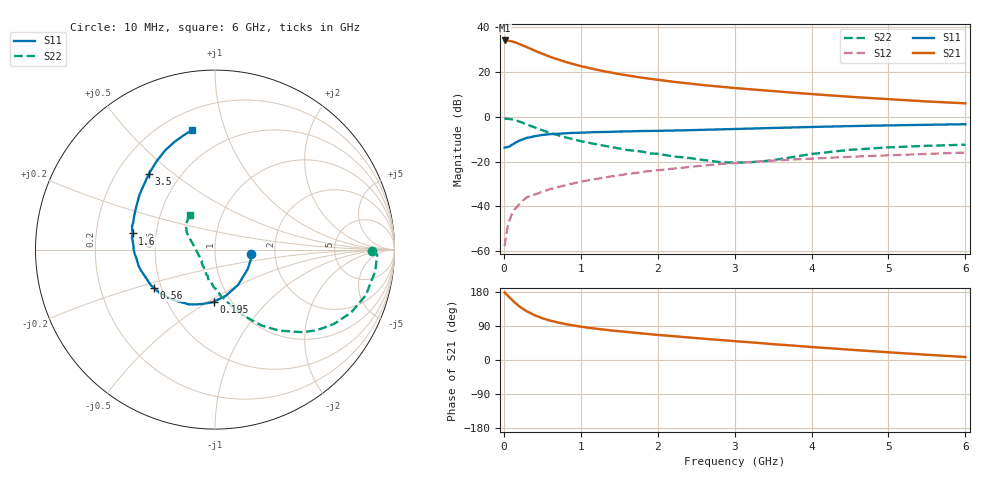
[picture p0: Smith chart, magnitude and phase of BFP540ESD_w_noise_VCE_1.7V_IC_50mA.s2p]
! Infineon Technologies  Discrete & RF Semiconductors
! BFP540ESD
! VCE =  1.7 V,  IC =  50 mA
! Common Emitter S-Parameters:  Nov 2015
# GHz  S  MA  R  50
!  f  S11  S21  S12  S22
! GHz  MAG  ANG  MAG  ANG  MAG  ANG  MAG  ANG
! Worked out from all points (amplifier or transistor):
!   210 points, 10 MHz to 6 GHz, reference 50 ohm
!   highest |S21| = 34.0 dB at 10 MHz (marker M1)
!   |S21| within 3 dB of that: start of sweep to 299.1 MHz
!   unconditionally stable (mu >= 1): start of sweep to 19.9 MHz; 1.338 GHz to end of sweep
!   at 185 MHz: K = 0.39, MSG = 36.1 dB, |S12| = -39.6 dB
!   at 1.52 GHz: K = 1.03, MAG = 21.3 dB, |S12| = -26.0 dB
!   at 6 GHz: K = 1.12, MAG = 8.9 dB, |S12| = -16.0 dB
!   lowest NFmin = 1.82 dB at 900 MHz
!   S11 on the Smith chart (normalised r, x): 10 MHz: 1.51, -0.08; 195 MHz: 0.84, -0.53; 560 MHz: 0.46, -0.23; 1.6 GHz: 0.37, +0.08; 3.5 GHz: 0.33, +0.41; 6 GHz: 0.31, +0.78
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0.01  0.2044 -7.5  50 178.1  0.0013 127.0  0.873 -0.5
0.05  0.2122 -30.9  49.75 169.9  0.0036 85.3  0.9012 -7.5
0.1  0.2355 -57.0  48 159.6  0.0064 75.1  0.878 -16.8
0.15  0.2644 -76.9  45.3 150.2  0.009 76.3  0.8357 -24.8
0.195  0.2894 -91.0  42.3 142.7  0.0109 74.2  0.7862 -31.2
0.24  0.3103 -102.8  39.23 136.1  0.0131 71.3  0.7368 -36.8
0.3  0.3381 -115.5  35.35 128.2  0.016 67.9  0.6721 -43.2
0.4  0.3676 -130.7  29.62 118.0  0.0184 65.7  0.5762 -51.6
0.5  0.3922 -142.3  25.21 110.1  0.0211 66.1  0.498 -58.3
0.56  0.4009 -147.5  23.03 106.7  0.023 65.5  0.4604 -61.1
0.6  0.4085 -150.9  21.62 104.0  0.0242 65.1  0.4361 -63.2
0.7  0.4156 -157.7  18.91 99.1  0.0269 63.2  0.3874 -67.5
0.8  0.4279 -163.7  16.66 94.7  0.0296 63.4  0.3463 -71.9
1.02  0.4405 -173.6  13.15 87.5  0.0362 63.7  0.2808 -79.2
1.3  0.4548 177.3  10.32 80.2  0.0441 62.0  0.2243 -87.3
1.6  0.4667 168.9  8.342 73.7  0.0528 61.3  0.1813 -96.4
2.02  0.4853 159.1  6.555 65.9  0.0645 58.1  0.1468 -109.2
3.1  0.5353 137.9  4.218 48.3  0.0949 48.6  0.0952 -158.1
3.5  0.5609 130.9  3.701 41.7  0.1054 44.7  0.1076 178.3
4.1  0.5954 122.0  3.102 32.9  0.1187 38.8  0.154 156.3
5.1  0.6443 109.6  2.399 19.0  0.1398 29.2  0.2103 139.7
6  0.6789 100.9  1.985 7.9  0.1586 21.9  0.2378 125.2
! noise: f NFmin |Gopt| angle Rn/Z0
0.9  1.82  0.49  -140  0.15
1.8  1.97  0.51  -142  0.15
2.4  2.02  0.52  -132  0.19
3  2.14  0.54  -123  0.26
4  2.19  0.61  -102  0.45
5  2.28  0.69  -86  0.67
6  2.72  0.63  -83  1.04
